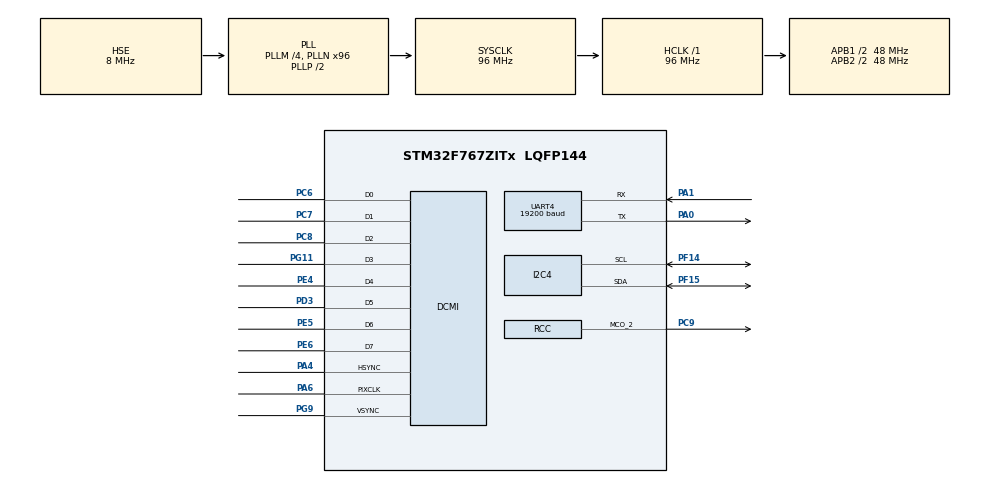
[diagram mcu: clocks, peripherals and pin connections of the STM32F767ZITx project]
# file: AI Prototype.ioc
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DCMI.JPEGMode=DCMI_JPEG_DISABLE
DCMI.PCKPolarity=DCMI_PCKPOLARITY_RISING
DCMI.VSPolarity=DCMI_VSPOLARITY_HIGH
Dma.DCMI.0.Direction=DMA_PERIPH_TO_MEMORY
Dma.DCMI.0.FIFOMode=DMA_FIFOMODE_DISABLE
Dma.DCMI.0.Instance=DMA2_Stream1
Dma.DCMI.0.MemDataAlignment=DMA_MDATAALIGN_WORD
Dma.DCMI.0.MemInc=DMA_MINC_ENABLE
Dma.DCMI.0.Mode=DMA_NORMAL
Dma.DCMI.0.PeriphDataAlignment=DMA_PDATAALIGN_WORD
Dma.DCMI.0.PeriphInc=DMA_PINC_DISABLE
Dma.DCMI.0.Priority=DMA_PRIORITY_LOW
Dma.Request0=DCMI
I2C4.Timing=0x20303E5D
Mcu.Family=STM32F7
Mcu.Name=STM32F767ZITx
Mcu.Package=LQFP144
NVIC.DCMI_IRQn=true\:0\:0\:false\:false\:true\:true\:true\:true
NVIC.DMA2_Stream1_IRQn=true\:0\:0\:false\:false\:true\:false\:true\:true
NVIC.PriorityGroup=NVIC_PRIORITYGROUP_4
PA0/WKUP.Mode=Asynchronous
PA0/WKUP.Signal=UART4_TX
PA1.Mode=Asynchronous
PA1.Signal=UART4_RX
PA13.Signal=SYS_JTMS-SWDIO
PA14.Signal=SYS_JTCK-SWCLK
PA4.GPIO_Mode=GPIO_MODE_AF_PP
PA4.GPIO_PuPd=GPIO_NOPULL
PA4.GPIO_Speed=GPIO_SPEED_FREQ_VERY_HIGH
PA4.Mode=Slave_8_bits_External_Synchro
PA4.Signal=DCMI_HSYNC
PA6.GPIO_Mode=GPIO_MODE_AF_PP
PA6.GPIO_PuPd=GPIO_NOPULL
PA6.GPIO_Speed=GPIO_SPEED_FREQ_VERY_HIGH
PA6.Mode=Slave_8_bits_External_Synchro
PA6.Signal=DCMI_PIXCLK
PC6.GPIO_Mode=GPIO_MODE_AF_PP
PC6.GPIO_PuPd=GPIO_NOPULL
PC6.GPIO_Speed=GPIO_SPEED_FREQ_VERY_HIGH
PC6.Mode=Slave_8_bits_External_Synchro
PC6.Signal=DCMI_D0
PC7.GPIO_Mode=GPIO_MODE_AF_PP
PC7.GPIO_PuPd=GPIO_NOPULL
PC7.GPIO_Speed=GPIO_SPEED_FREQ_VERY_HIGH
PC7.Mode=Slave_8_bits_External_Synchro
PC7.Signal=DCMI_D1
PC8.GPIO_Mode=GPIO_MODE_AF_PP
PC8.GPIO_PuPd=GPIO_NOPULL
PC8.GPIO_Speed=GPIO_SPEED_FREQ_VERY_HIGH
PC8.Mode=Slave_8_bits_External_Synchro
PC8.Signal=DCMI_D2
PC9.GPIO_Speed=GPIO_SPEED_FREQ_VERY_HIGH
PC9.Mode=Clock-out-2
PC9.Signal=RCC_MCO_2
PD3.GPIO_Mode=GPIO_MODE_AF_PP
PD3.GPIO_PuPd=GPIO_NOPULL
PD3.GPIO_Speed=GPIO_SPEED_FREQ_VERY_HIGH
PD3.Mode=Slave_8_bits_External_Synchro
PD3.Signal=DCMI_D5
PE4.GPIO_Mode=GPIO_MODE_AF_PP
PE4.GPIO_PuPd=GPIO_NOPULL
PE4.GPIO_Speed=GPIO_SPEED_FREQ_VERY_HIGH
PE4.Mode=Slave_8_bits_External_Synchro
PE4.Signal=DCMI_D4
PE5.GPIO_Mode=GPIO_MODE_AF_PP
PE5.GPIO_PuPd=GPIO_NOPULL
PE5.GPIO_Speed=GPIO_SPEED_FREQ_VERY_HIGH
PE5.Mode=Slave_8_bits_External_Synchro
PE5.Signal=DCMI_D6
PE6.GPIO_Mode=GPIO_MODE_AF_PP
PE6.GPIO_PuPd=GPIO_NOPULL
PE6.GPIO_Speed=GPIO_SPEED_FREQ_VERY_HIGH
PE6.Mode=Slave_8_bits_External_Synchro
PE6.Signal=DCMI_D7
PF14.Mode=I2C
PF14.Signal=I2C4_SCL
PF15.Mode=I2C
PF15.Signal=I2C4_SDA
PG11.GPIO_Mode=GPIO_MODE_AF_PP
PG11.GPIO_PuPd=GPIO_NOPULL
PG11.GPIO_Speed=GPIO_SPEED_FREQ_VERY_HIGH
PG11.Mode=Slave_8_bits_External_Synchro
PG11.Signal=DCMI_D3
PG9.GPIO_Mode=GPIO_MODE_AF_PP
PG9.GPIO_PuPd=GPIO_NOPULL
PG9.GPIO_Speed=GPIO_SPEED_FREQ_VERY_HIGH
PG9.Mode=Slave_8_bits_External_Synchro
PG9.Signal=DCMI_VSYNC
PH0/OSC_IN.Mode=HSE-External-Oscillator
PH0/OSC_IN.Signal=RCC_OSC_IN
PH1/OSC_OUT.Mode=HSE-External-Oscillator
PH1/OSC_OUT.Signal=RCC_OSC_OUT
ProjectManager.HeapSize=0x200
ProjectManager.StackSize=0x400
ProjectManager.TargetToolchain=STM32CubeIDE
RCC.AHBFreq_Value=96000000
RCC.APB1CLKDivider=RCC_HCLK_DIV2
RCC.APB1Freq_Value=48000000
RCC.APB1TimFreq_Value=96000000
RCC.APB2CLKDivider=RCC_HCLK_DIV2
RCC.APB2Freq_Value=48000000
RCC.APB2TimFreq_Value=96000000
RCC.CortexFreq_Value=12000000
RCC.Cortex_Div=SYSTICK_CLKSOURCE_HCLK_DIV8
RCC.HCLKFreq_Value=96000000
RCC.HSE_VALUE=8000000
RCC.HSI_VALUE=16000000
RCC.LSE_VALUE=32768
RCC.PLLM=4
RCC.PLLN=96
RCC.PLLSourceVirtual=RCC_PLLSOURCE_HSE
RCC.RCC_MCO2Source=RCC_MCO2SOURCE_PLLCLK
RCC.RCC_MCODiv2=RCC_MCODIV_4
RCC.SYSCLKFreq_VALUE=96000000
RCC.SYSCLKSource=RCC_SYSCLKSOURCE_PLLCLK
RCC.USBFreq_Value=96000000
RCC.VCOOutputFreq_Value=192000000
RCC.VDD_VALUE=3.3
TIM1.Period=20000-1
TIM1.Prescaler=96-1
TIM3.ClockDivision=TIM_CLOCKDIVISION_DIV1
TIM3.Period=1
TIM3.Prescaler=1-1
UART4.BaudRate=19200
VP_TIM1_VS_ClockSourceINT.Mode=Internal
VP_TIM3_VS_ClockSourceINT.Mode=Internal
board=custom

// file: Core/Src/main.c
/* USER CODE BEGIN Header */
/**
  ******************************************************************************
  * @file           : main.c
  * @brief          : Main program body
  ******************************************************************************
  * @attention
  *
  * Copyright (c) 2024 STMicroelectronics.
  * All rights reserved.
  *
  * This software is licensed under terms that can be found in the LICENSE file
  * in the root directory of this software component.
  * If no LICENSE file comes with this software, it is provided AS-IS.
  *
  ******************************************************************************
  */
/* USER CODE END Header */
#include "main.h"

/* USER CODE BEGIN Includes */
#include "../../Drivers/Custom/OV7670.h"
#include "../../Drivers/Custom/putty.h"

/* USER CODE END Includes */

DCMI_HandleTypeDef hdcmi;
DMA_HandleTypeDef hdma_dcmi;

I2C_HandleTypeDef hi2c4;

TIM_HandleTypeDef htim1;
TIM_HandleTypeDef htim3;

UART_HandleTypeDef huart4;

void SystemClock_Config(void);
static void MX_GPIO_Init(void);
static void MX_DMA_Init(void);
static void MX_TIM3_Init(void);
static void MX_DCMI_Init(void);
static void MX_I2C4_Init(void);
static void MX_TIM1_Init(void);
static void MX_UART4_Init(void);

/* USER CODE BEGIN 0 */
void setServoAngle(uint32_t angle){
	if(angle > 180) angle = 180;
	int32_t minPulseWidth = 1000; //1ms pulse width at a 1MHz clock
	int32_t maxPulseWidth = 2000; //2ms pulse width
	uint32_t pulse = (uint32_t)((angle * (maxPulseWidth - minPulseWidth)) /180) + minPulseWidth;
	TIM1->CCR2 = pulse;
}

/* USER CODE END 0 */

int main(void)
{

  /* MCU Configuration--------------------------------------------------------*/

  /* Reset of all peripherals, Initializes the Flash interface and the Systick. */
  HAL_Init();

  /* Configure the system clock */
  SystemClock_Config();

  /* Initialize all configured peripherals */
  MX_GPIO_Init();
//  OV7670_GPIO_Init();
  MX_DMA_Init();
  MX_TIM3_Init();
  MX_DCMI_Init();
  MX_I2C4_Init();
  MX_TIM1_Init();
  MX_UART4_Init();
  /* USER CODE BEGIN 2 */
  HAL_TIM_PWM_Start(&htim1, TIM_CHANNEL_2);
  HAL_TIM_PWM_Start(&htim3, TIM_CHANNEL_3);
  init_putty(&huart4);

//  int angle = 0;
//  int clockwise = 0;
//  setServoAngle(180);
  camera_init(&hi2c4, &hdcmi);
  OV7670_init();
  HAL_Delay(200);
  startCapture();
  HAL_Delay(3000);
  print_image_data();

  /* USER CODE END 2 */

  /* Infinite loop */
  /* USER CODE BEGIN WHILE */
//  read_test();
  //read_image();
    /* USER CODE END WHILE */

    /* USER CODE BEGIN 3 */
//

  while (1)
  {
    /* USER CODE BEGIN 3 */
  }
  /* USER CODE END 3 */
}

void SystemClock_Config(void)
{
  RCC_OscInitTypeDef RCC_OscInitStruct = {0};
  RCC_ClkInitTypeDef RCC_ClkInitStruct = {0};

  /** Configure the main internal regulator output voltage
  */
  __HAL_RCC_PWR_CLK_ENABLE();
  __HAL_PWR_VOLTAGESCALING_CONFIG(PWR_REGULATOR_VOLTAGE_SCALE3);

  /** Initializes the RCC Oscillators according to the specified parameters
  * in the RCC_OscInitTypeDef structure.
  */
  RCC_OscInitStruct.OscillatorType = RCC_OSCILLATORTYPE_HSE;
  RCC_OscInitStruct.HSEState = RCC_HSE_ON;
  RCC_OscInitStruct.PLL.PLLState = RCC_PLL_ON;
  RCC_OscInitStruct.PLL.PLLSource = RCC_PLLSOURCE_HSE;
  RCC_OscInitStruct.PLL.PLLM = 4;
  RCC_OscInitStruct.PLL.PLLN = 96;
  RCC_OscInitStruct.PLL.PLLP = RCC_PLLP_DIV2;
  RCC_OscInitStruct.PLL.PLLQ = 2;
  RCC_OscInitStruct.PLL.PLLR = 2;
  if (HAL_RCC_OscConfig(&RCC_OscInitStruct) != HAL_OK)
  {
    Error_Handler();
  }

  /** Activate the Over-Drive mode
  */
  if (HAL_PWREx_EnableOverDrive() != HAL_OK)
  {
    Error_Handler();
  }

  /** Initializes the CPU, AHB and APB buses clocks
  */
  RCC_ClkInitStruct.ClockType = RCC_CLOCKTYPE_HCLK|RCC_CLOCKTYPE_SYSCLK
                              |RCC_CLOCKTYPE_PCLK1|RCC_CLOCKTYPE_PCLK2;
  RCC_ClkInitStruct.SYSCLKSource = RCC_SYSCLKSOURCE_PLLCLK;
  RCC_ClkInitStruct.AHBCLKDivider = RCC_SYSCLK_DIV1;
  RCC_ClkInitStruct.APB1CLKDivider = RCC_HCLK_DIV2;
  RCC_ClkInitStruct.APB2CLKDivider = RCC_HCLK_DIV2;

  if (HAL_RCC_ClockConfig(&RCC_ClkInitStruct, FLASH_LATENCY_3) != HAL_OK)
  {
    Error_Handler();
  }
  HAL_RCC_MCOConfig(RCC_MCO2, RCC_MCO2SOURCE_PLLCLK, RCC_MCODIV_4);
}

static void MX_DCMI_Init(void)
{

  hdcmi.Instance = DCMI;
  hdcmi.Init.SynchroMode = DCMI_SYNCHRO_HARDWARE;
  hdcmi.Init.PCKPolarity = DCMI_PCKPOLARITY_RISING;
  hdcmi.Init.VSPolarity = DCMI_VSPOLARITY_HIGH;
  hdcmi.Init.HSPolarity = DCMI_HSPOLARITY_LOW;
  hdcmi.Init.CaptureRate = DCMI_CR_ALL_FRAME;
  hdcmi.Init.ExtendedDataMode = DCMI_EXTEND_DATA_8B;
  hdcmi.Init.JPEGMode = DCMI_JPEG_DISABLE;
  hdcmi.Init.ByteSelectMode = DCMI_BSM_ALL;
  hdcmi.Init.ByteSelectStart = DCMI_OEBS_ODD;
  hdcmi.Init.LineSelectMode = DCMI_LSM_ALL;
  hdcmi.Init.LineSelectStart = DCMI_OELS_ODD;
  if (HAL_DCMI_Init(&hdcmi) != HAL_OK)
  {
    Error_Handler();
  }

}

static void MX_I2C4_Init(void)
{

  hi2c4.Instance = I2C4;
  hi2c4.Init.Timing = 0x20303E5D;
  hi2c4.Init.OwnAddress1 = 0;
  hi2c4.Init.AddressingMode = I2C_ADDRESSINGMODE_7BIT;
  hi2c4.Init.DualAddressMode = I2C_DUALADDRESS_DISABLE;
  hi2c4.Init.OwnAddress2 = 0;
  hi2c4.Init.OwnAddress2Masks = I2C_OA2_NOMASK;
  hi2c4.Init.GeneralCallMode = I2C_GENERALCALL_DISABLE;
  hi2c4.Init.NoStretchMode = I2C_NOSTRETCH_DISABLE;
  if (HAL_I2C_Init(&hi2c4) != HAL_OK)
  {
    Error_Handler();
  }

  /** Configure Analogue filter
  */
  if (HAL_I2CEx_ConfigAnalogFilter(&hi2c4, I2C_ANALOGFILTER_ENABLE) != HAL_OK)
  {
    Error_Handler();
  }

  /** Configure Digital filter
  */
  if (HAL_I2CEx_ConfigDigitalFilter(&hi2c4, 0) != HAL_OK)
  {
    Error_Handler();
  }

}

static void MX_TIM1_Init(void)
{

  TIM_ClockConfigTypeDef sClockSourceConfig = {0};
  TIM_MasterConfigTypeDef sMasterConfig = {0};

  htim1.Instance = TIM1;
  htim1.Init.Prescaler = 96-1;
  htim1.Init.CounterMode = TIM_COUNTERMODE_UP;
  htim1.Init.Period = 20000-1;
  htim1.Init.ClockDivision = TIM_CLOCKDIVISION_DIV1;
  htim1.Init.RepetitionCounter = 0;
  htim1.Init.AutoReloadPreload = TIM_AUTORELOAD_PRELOAD_DISABLE;
  if (HAL_TIM_Base_Init(&htim1) != HAL_OK)
  {
    Error_Handler();
  }
  sClockSourceConfig.ClockSource = TIM_CLOCKSOURCE_INTERNAL;
  if (HAL_TIM_ConfigClockSource(&htim1, &sClockSourceConfig) != HAL_OK)
  {
    Error_Handler();
  }
  sMasterConfig.MasterOutputTrigger = TIM_TRGO_RESET;
  sMasterConfig.MasterOutputTrigger2 = TIM_TRGO2_RESET;
  sMasterConfig.MasterSlaveMode = TIM_MASTERSLAVEMODE_DISABLE;
  if (HAL_TIMEx_MasterConfigSynchronization(&htim1, &sMasterConfig) != HAL_OK)
  {
    Error_Handler();
  }

}

static void MX_TIM3_Init(void)
{

  TIM_ClockConfigTypeDef sClockSourceConfig = {0};
  TIM_MasterConfigTypeDef sMasterConfig = {0};

  htim3.Instance = TIM3;
  htim3.Init.Prescaler = 1-1;
  htim3.Init.CounterMode = TIM_COUNTERMODE_UP;
  htim3.Init.Period = 1;
  htim3.Init.ClockDivision = TIM_CLOCKDIVISION_DIV1;
  htim3.Init.AutoReloadPreload = TIM_AUTORELOAD_PRELOAD_DISABLE;
  if (HAL_TIM_Base_Init(&htim3) != HAL_OK)
  {
    Error_Handler();
  }
  sClockSourceConfig.ClockSource = TIM_CLOCKSOURCE_INTERNAL;
  if (HAL_TIM_ConfigClockSource(&htim3, &sClockSourceConfig) != HAL_OK)
  {
    Error_Handler();
  }
  sMasterConfig.MasterOutputTrigger = TIM_TRGO_RESET;
  sMasterConfig.MasterSlaveMode = TIM_MASTERSLAVEMODE_DISABLE;
  if (HAL_TIMEx_MasterConfigSynchronization(&htim3, &sMasterConfig) != HAL_OK)
  {
    Error_Handler();
  }

}

static void MX_UART4_Init(void)
{

  huart4.Instance = UART4;
  huart4.Init.BaudRate = 19200;
  huart4.Init.WordLength = UART_WORDLENGTH_8B;
  huart4.Init.StopBits = UART_STOPBITS_1;
  huart4.Init.Parity = UART_PARITY_NONE;
  huart4.Init.Mode = UART_MODE_TX_RX;
  huart4.Init.HwFlowCtl = UART_HWCONTROL_NONE;
  huart4.Init.OverSampling = UART_OVERSAMPLING_16;
  huart4.Init.OneBitSampling = UART_ONE_BIT_SAMPLE_DISABLE;
  huart4.AdvancedInit.AdvFeatureInit = UART_ADVFEATURE_NO_INIT;
  if (HAL_UART_Init(&huart4) != HAL_OK)
  {
    Error_Handler();
  }

}

static void MX_DMA_Init(void)
{

  /* DMA controller clock enable */
  __HAL_RCC_DMA2_CLK_ENABLE();

  /* DMA interrupt init */
  /* DMA2_Stream1_IRQn interrupt configuration */
  HAL_NVIC_SetPriority(DMA2_Stream1_IRQn, 0, 0);
  HAL_NVIC_EnableIRQ(DMA2_Stream1_IRQn);

}

static void MX_GPIO_Init(void)
{
  GPIO_InitTypeDef GPIO_InitStruct = {0};

  /* GPIO Ports Clock Enable */
  __HAL_RCC_GPIOE_CLK_ENABLE();
  __HAL_RCC_GPIOH_CLK_ENABLE();
  __HAL_RCC_GPIOA_CLK_ENABLE();
  __HAL_RCC_GPIOF_CLK_ENABLE();
  __HAL_RCC_GPIOC_CLK_ENABLE();
  __HAL_RCC_GPIOD_CLK_ENABLE();
  __HAL_RCC_GPIOG_CLK_ENABLE();

  /*Configure GPIO pin : PC9 */
  GPIO_InitStruct.Pin = GPIO_PIN_9;
  GPIO_InitStruct.Mode = GPIO_MODE_AF_PP;
  GPIO_InitStruct.Pull = GPIO_NOPULL;
  GPIO_InitStruct.Speed = GPIO_SPEED_FREQ_VERY_HIGH;
  GPIO_InitStruct.Alternate = GPIO_AF0_MCO;
  HAL_GPIO_Init(GPIOC, &GPIO_InitStruct);

}

void Error_Handler(void)
{
  __disable_irq();
  while (1)
  {
  }
}
